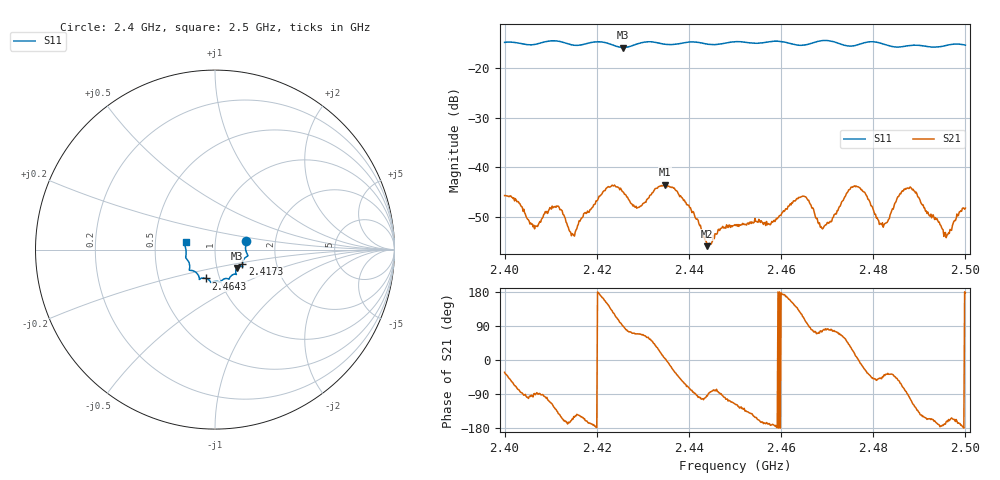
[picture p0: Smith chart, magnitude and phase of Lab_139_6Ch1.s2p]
# Hz S RI R 50
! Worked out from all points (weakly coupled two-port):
!   601 points, 2.4 GHz to 2.5 GHz, reference 50 ohm
!   highest |S21| = -43.47 dB at 2.4348 GHz (marker M1); lowest = -55.9 dB at 2.444 GHz (marker M2)
!   lowest |S11| = -15.9 dB at 2.4257 GHz (marker M3), VSWR 1.38, Z = 62.5 - j13.1 ohm
!   |S11| at or under -10 dB: start of sweep to end of sweep
!   S12 and S22 are empty: the file has one direction only
!   S11 on the Smith chart (normalised r, x): 2.4 GHz: 1.41, +0.14; 2.4173 GHz: 1.34, -0.23; 2.4643 GHz: 0.86, -0.28; 2.5 GHz: 0.72, +0.06
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2.4e9  0.1732 0.0495  0.00439 -0.00278  0 0  0 0
2.406667e9  0.172 -0.00641  -7.48e-05 -0.00256  0 0  0 0
2.410833e9  0.1836 -0.0341  -0.00235 -0.00322  0 0  0 0
2.414667e9  0.1614 -0.0525  -0.00195 -0.000903  0 0  0 0
2.416667e9  0.153 -0.0743  -0.00264 -0.00157  0 0  0 0
2.417333e9  0.1523 -0.0818  -0.00313 -0.00148  0 0  0 0
2.4225e9  0.1486 -0.0938  -0.00521 0.00371  0 0  0 0
2.425667e9  0.1229 -0.102  2.13e-05 0.00566  0 0  0 0
2.428833e9  0.1156 -0.1302  0.0014 0.00366  0 0  0 0
2.433333e9  0.1131 -0.137  0.00559 0.00302  0 0  0 0
2.434833e9  0.103 -0.1381  0.00669 0.000397  0 0  0 0
2.444e9  0.0634 -0.1608  -0.00014 -0.0016  0 0  0 0
2.45e9  0.0296 -0.1808  -0.00117 -0.00238  0 0  0 0
2.4575e9  -0.0163 -0.182  -0.0026 -0.000546  0 0  0 0
2.464333e9  -0.0499 -0.1606  -0.00266 0.00428  0 0  0 0
2.466667e9  -0.0759 -0.1596  0.000706 0.00383  0 0  0 0
2.469333e9  -0.0877 -0.1666  0.000398 0.00252  0 0  0 0
2.476333e9  -0.1198 -0.1185  0.00639 0.001  0 0  0 0
2.483333e9  -0.1408 -0.0899  0.00237 -0.00184  0 0  0 0
2.487667e9  -0.1584 -0.0524  -0.000466 -0.0061  0 0  0 0
2.495833e9  -0.1668 0.018  -0.00187 -0.000576  0 0  0 0
2.5e9  -0.1636 0.0422  -0.00388 0.000179  0 0  0 0
